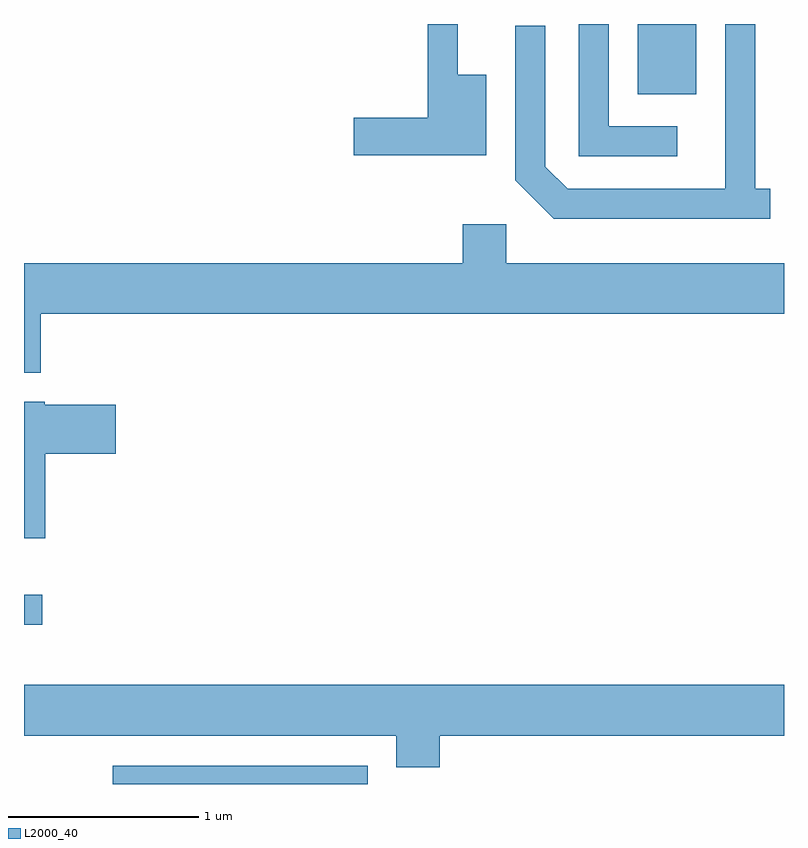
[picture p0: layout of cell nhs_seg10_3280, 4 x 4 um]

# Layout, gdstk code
import gdstk
lib = gdstk.Library(unit=1e-6, precision=1e-09)
def R(c, l, rs):  # rectangles x0, y0, x1, y1
    for r in rs: c.add(gdstk.rectangle(r[:2], r[2:], *l))
def P(c, l, *ps):  # polygons
    for p in ps: c.add(gdstk.Polygon(p, *l))
L2000_40 = (2000, 40)

nhs_seg10_3280 = lib.new_cell('nhs_seg10_3280')
R(nhs_seg10_3280, L2000_40, [(282.078,2142.522,283.419,2142.619), (281.611,2143.361,281.708,2143.519), (284.841,2146.151,285.149,2146.522)])
P(nhs_seg10_3280, L2000_40, [(285.048,2145.984),(284.689,2145.984),(284.689,2146.522),(284.531,2146.522),(284.531,2145.826),(285.048,2145.826)],
  [(285.538,2145.654),(285.459,2145.654),(285.459,2146.522),(285.301,2146.522),(285.301,2145.654),(284.472,2145.654),(284.354,2145.772),(284.354,2146.513),(284.196,2146.513),(284.196,2145.699),(284.399,2145.496),(285.538,2145.496)],
  [(284.044,2146.254),(283.894,2146.254),(283.894,2146.522),(283.736,2146.522),(283.736,2146.029),(283.346,2146.029),(283.346,2145.831),(284.044,2145.831)],
  [(281.699,2144.996),(285.611,2144.996),(285.611,2145.264),(284.149,2145.264),(284.149,2145.469),(283.921,2145.469),(283.921,2145.264),(281.611,2145.264),(281.611,2144.686),(281.699,2144.686)],
  [(281.724,2144.261),(282.094,2144.261),(282.094,2144.519),(281.72,2144.519),(281.72,2144.534),(281.611,2144.534),(281.611,2143.816),(281.724,2143.816)],
  [(283.799,2142.776),(285.611,2142.776),(285.611,2143.044),(281.611,2143.044),(281.611,2142.776),(283.571,2142.776),(283.571,2142.611),(283.799,2142.611)])

lib.write_gds('nhs_seg10_3280.gds')
